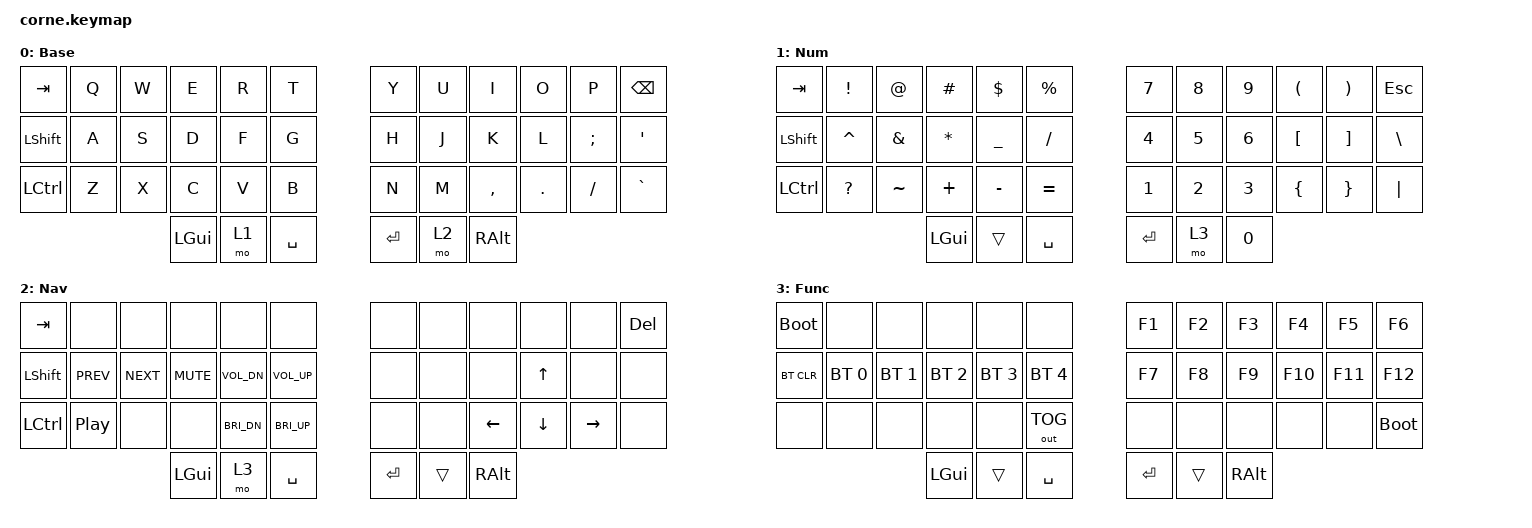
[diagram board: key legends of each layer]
/*
 * Ian's Corne layout - converted from QMK (crkbd_r2g_layout_split_3x6_3_mine.json) to ZMK
 *
 * Layers:
 *   0 BASE   - QWERTY
 *   1 NUM    - symbols (left) + numpad (right)       hold left inner thumb
 *   2 NAV    - media (left) + arrows (right)         hold right inner thumb
 *   3 FUNC   - F-keys + Bluetooth controls           hold both inner thumbs
 */

#include <behaviors.dtsi>
#include <dt-bindings/zmk/keys.h>
#include <dt-bindings/zmk/bt.h>
#include <dt-bindings/zmk/outputs.h>

/ {
    keymap {
        compatible = "zmk,keymap";

        base_layer {
            display-name = "Base";
            bindings = <
&kp TAB    &kp Q  &kp W  &kp E  &kp R  &kp T        &kp Y  &kp U  &kp I      &kp O    &kp P     &kp BSPC
&kp LSHFT  &kp A  &kp S  &kp D  &kp F  &kp G        &kp H  &kp J  &kp K      &kp L    &kp SEMI  &kp SQT
&kp LCTRL  &kp Z  &kp X  &kp C  &kp V  &kp B        &kp N  &kp M  &kp COMMA  &kp DOT  &kp FSLH  &kp GRAVE
                   &kp LGUI  &mo 1  &kp SPACE        &kp RET  &mo 2  &kp RALT
            >;
        };

        num_layer {
            display-name = "Num";
            bindings = <
&kp TAB    &kp EXCL   &kp AT     &kp HASH   &kp DLLR   &kp PRCNT     &kp N7  &kp N8  &kp N9  &kp LPAR  &kp RPAR  &kp ESC
&kp LSHFT  &kp CARET  &kp AMPS   &kp STAR   &kp UNDER  &kp FSLH      &kp N4  &kp N5  &kp N6  &kp LBKT  &kp RBKT  &kp BSLH
&kp LCTRL  &kp QMARK  &kp TILDE  &kp PLUS   &kp MINUS  &kp EQUAL     &kp N1  &kp N2  &kp N3  &kp LBRC  &kp RBRC  &kp PIPE
                             &kp LGUI  &trans  &kp SPACE             &kp RET  &mo 3  &kp N0
            >;
        };

        nav_layer {
            display-name = "Nav";
            bindings = <
&kp TAB    &none        &none        &none       &none          &none            &none  &none  &none     &none     &none      &kp DEL
&kp LSHFT  &kp C_PREV   &kp C_NEXT   &kp C_MUTE  &kp C_VOL_DN   &kp C_VOL_UP     &none  &none  &none     &kp UP    &none      &none
&kp LCTRL  &kp C_PP     &none        &none       &kp C_BRI_DN   &kp C_BRI_UP     &none  &none  &kp LEFT  &kp DOWN  &kp RIGHT  &none
                                &kp LGUI  &mo 3  &kp SPACE                       &kp RET  &trans  &kp RALT
            >;
        };

        func_layer {
            display-name = "Func";
            bindings = <
&bootloader  &none         &none         &none         &none         &none           &kp F1  &kp F2  &kp F3  &kp F4   &kp F5   &kp F6
&bt BT_CLR   &bt BT_SEL 0  &bt BT_SEL 1  &bt BT_SEL 2  &bt BT_SEL 3  &bt BT_SEL 4    &kp F7  &kp F8  &kp F9  &kp F10  &kp F11  &kp F12
&none        &none         &none         &none         &none         &out OUT_TOG    &none   &none   &none   &none    &none    &bootloader
                                     &kp LGUI  &trans  &kp SPACE                     &kp RET  &trans  &kp RALT
            >;
        };
    };
};
